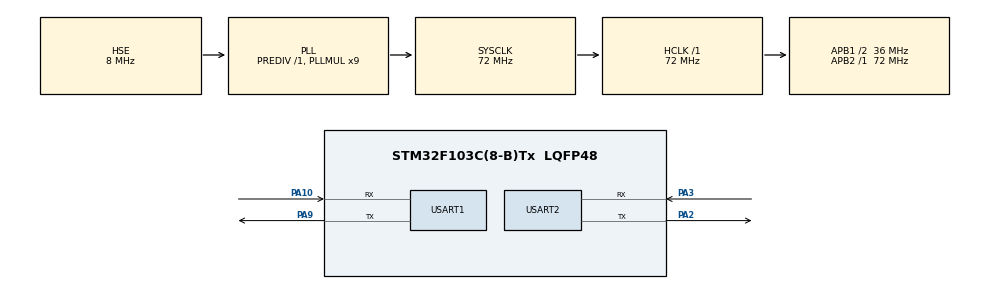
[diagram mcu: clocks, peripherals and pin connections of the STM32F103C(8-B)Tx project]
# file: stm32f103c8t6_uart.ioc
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Mcu.Family=STM32F1
Mcu.Name=STM32F103C(8-B)Tx
Mcu.Package=LQFP48
NVIC.PriorityGroup=NVIC_PRIORITYGROUP_4
PA10.Mode=Asynchronous
PA10.Signal=USART1_RX
PA13.Mode=Serial_Wire
PA13.Signal=SYS_JTMS-SWDIO
PA14.Mode=Serial_Wire
PA14.Signal=SYS_JTCK-SWCLK
PA2.Mode=Asynchronous
PA2.Signal=USART2_TX
PA3.Mode=Asynchronous
PA3.Signal=USART2_RX
PA9.Mode=Asynchronous
PA9.Signal=USART1_TX
PD0-OSC_IN.Mode=HSE-External-Oscillator
PD0-OSC_IN.Signal=RCC_OSC_IN
PD1-OSC_OUT.Mode=HSE-External-Oscillator
PD1-OSC_OUT.Signal=RCC_OSC_OUT
ProjectManager.HeapSize=0x200
ProjectManager.StackSize=0x400
ProjectManager.TargetToolchain=CMake
RCC.AHBFreq_Value=72000000
RCC.APB1CLKDivider=RCC_HCLK_DIV2
RCC.APB1Freq_Value=36000000
RCC.APB1TimFreq_Value=72000000
RCC.APB2Freq_Value=72000000
RCC.APB2TimFreq_Value=72000000
RCC.HCLKFreq_Value=72000000
RCC.PLLMUL=RCC_PLL_MUL9
RCC.PLLSourceVirtual=RCC_PLLSOURCE_HSE
RCC.SYSCLKFreq_VALUE=72000000
RCC.SYSCLKSource=RCC_SYSCLKSOURCE_PLLCLK
RCC.USBFreq_Value=72000000
USART1.VirtualMode=VM_ASYNC
USART2.VirtualMode=VM_ASYNC
board=custom

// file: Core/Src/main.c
/* USER CODE BEGIN Header */
/**
  ******************************************************************************
  * @file           : main.c
  * @brief          : Main program body
  ******************************************************************************
  * @attention
  *
  * Copyright (c) 2026 STMicroelectronics.
  * All rights reserved.
  *
  * This software is licensed under terms that can be found in the LICENSE file
  * in the root directory of this software component.
  * If no LICENSE file comes with this software, it is provided AS-IS.
  *
  ******************************************************************************
  */
/* USER CODE END Header */
#include "main.h"

/* USER CODE BEGIN Includes */
#include <stdio.h>
#include <string.h>
/* USER CODE END Includes */

UART_HandleTypeDef huart1;
UART_HandleTypeDef huart2;

/* USER CODE BEGIN PV */
#define TEST_BUF_SIZE 256
static uint8_t  tx_buf[TEST_BUF_SIZE];
static uint8_t  rx_buf[TEST_BUF_SIZE];
static uint32_t tests_passed = 0;
static uint32_t tests_failed = 0;
/* USER CODE END PV */

void SystemClock_Config(void);
static void MX_GPIO_Init(void);
static void MX_USART1_UART_Init(void);
static void MX_USART2_UART_Init(void);
/* USER CODE BEGIN PFP */
static void   uart_loopback_test(void);
static int    test_single_byte(void);
static int    test_variable_length(void);
static int    test_edge_patterns(void);
static void   led_init(void);
static void   led_pass(void);
static void   led_fail(void);
/* USER CODE END PFP */

/* USER CODE BEGIN 0 */

/* ---------------------------------------------------------- */
/* printf retarget to USART1                                  */
/* ---------------------------------------------------------- */
int __io_putchar(int ch)
{
  HAL_UART_Transmit(&huart1, (uint8_t *)&ch, 1, 2000);
  return ch;
}

/* ---------------------------------------------------------- */
/* LED helpers — PC13, active-low on Blue Pill                */
/* ---------------------------------------------------------- */
static void led_init(void)
{
  __HAL_RCC_GPIOC_CLK_ENABLE();
  GPIO_InitTypeDef g = {0};
  g.Pin   = GPIO_PIN_13;
  g.Mode  = GPIO_MODE_OUTPUT_PP;
  g.Pull  = GPIO_NOPULL;
  g.Speed = GPIO_SPEED_FREQ_LOW;
  HAL_GPIO_Init(GPIOC, &g);
  HAL_GPIO_WritePin(GPIOC, GPIO_PIN_13, GPIO_PIN_SET);  // LED off
}
static void led_pass(void)
{
  for (int i = 0; i < 6; i++) {
    HAL_GPIO_TogglePin(GPIOC, GPIO_PIN_13);
    HAL_Delay(80);
  }
  HAL_GPIO_WritePin(GPIOC, GPIO_PIN_13, GPIO_PIN_SET);
}

static void led_fail(void)
{
  for (int i = 0; i < 3; i++) {
    HAL_GPIO_TogglePin(GPIOC, GPIO_PIN_13);
    HAL_Delay(300);
  }
  HAL_GPIO_WritePin(GPIOC, GPIO_PIN_13, GPIO_PIN_SET);
}

/* ---------------------------------------------------------- */
/* UART loopback test cases                                   */
/* ---------------------------------------------------------- */
static int uart_check(const char *name, uint32_t len)
{
  memset(rx_buf, 0, len);
  HAL_UART_Transmit(&huart2, tx_buf, len, 2000);
  HAL_UART_Receive(&huart2, rx_buf, len, 2000);

  if (memcmp(tx_buf, rx_buf, len) != 0) {
    printf("  FAIL: %s\n", name);
    return 0;
  }
  printf("  PASS: %s\n", name);
  return 1;
}

static int test_single_byte(void)
{
  printf("  [Single-byte 0x00..0xFF]\n");
  int errors = 0;
  for (int v = 0; v < 256; v++) {
    tx_buf[0] = (uint8_t)v;
    memset(rx_buf, 0, 1);
    HAL_UART_Transmit(&huart2, tx_buf, 1, 2000);
    HAL_UART_Receive(&huart2, rx_buf, 1, 2000);
    if (rx_buf[0] != (uint8_t)v) {
      errors++;
      if (errors <= 5)
        printf("  FAIL: sent 0x%02X got 0x%02X\n", v, rx_buf[0]);
    }
  }
  if (errors == 0) {
    printf("  PASS: 256/256\n");
    return 1;
  }
  printf("  FAIL: %d/256 errors\n", errors);
  return 0;
}

static int test_variable_length(void)
{
  printf("  [Variable-length packets]\n");
  int all_ok = 1;
  uint32_t lens[] = {1, 4, 16, 64, 256};
  char name[32];
  for (int i = 0; i < 5; i++) {
    uint32_t n = lens[i];
    for (uint32_t j = 0; j < n; j++) tx_buf[j] = (uint8_t)(j & 0xFF);
    sprintf(name, "len=%lu", n);
    if (!uart_check(name, n)) all_ok = 0;
  }
  return all_ok;
}

static int test_edge_patterns(void)
{
  printf("  [Edge patterns]\n");
  int all_ok = 1;

  memset(tx_buf, 0x00, 64); if (!uart_check("all-0x00", 64)) all_ok = 0;
  memset(tx_buf, 0xFF, 64); if (!uart_check("all-0xFF", 64)) all_ok = 0;
  memset(tx_buf, 0x55, 64); if (!uart_check("0x55-alt", 64)) all_ok = 0;
  memset(tx_buf, 0xAA, 64); if (!uart_check("0xAA-alt", 64)) all_ok = 0;

  for (int i = 0; i < 64; i++) tx_buf[i] = (uint8_t)i;
  if (!uart_check("inc-0..63", 64)) all_ok = 0;

  for (int i = 0; i < 64; i++) tx_buf[i] = (uint8_t)(63 - i);
  if (!uart_check("dec-63..0", 64)) all_ok = 0;

  return all_ok;
}

static void uart_loopback_test(void)
{
  int ok;

  printf("\n--- USART2 Loopback @ 115200 ---\n");

  ok = test_single_byte();     ok ? tests_passed++ : tests_failed++;
  ok = test_variable_length(); ok ? tests_passed++ : tests_failed++;
  ok = test_edge_patterns();   ok ? tests_passed++ : tests_failed++;
}

/* USER CODE END 0 */

int main(void)
{

  /* MCU Configuration--------------------------------------------------------*/

  /* Reset of all peripherals, Initializes the Flash interface and the Systick. */
  HAL_Init();

  /* Configure the system clock */
  SystemClock_Config();

  /* Initialize all configured peripherals */
  MX_GPIO_Init();
  MX_USART1_UART_Init();
  MX_USART2_UART_Init();
  /* USER CODE BEGIN 2 */

  /* Init LED */
  __HAL_RCC_GPIOC_CLK_ENABLE();
  GPIO_InitTypeDef g = {0};
  g.Pin   = GPIO_PIN_13;
  g.Mode  = GPIO_MODE_OUTPUT_PP;
  g.Pull  = GPIO_NOPULL;
  g.Speed = GPIO_SPEED_FREQ_LOW;
  HAL_GPIO_Init(GPIOC, &g);
  HAL_GPIO_WritePin(GPIOC, GPIO_PIN_13, GPIO_PIN_SET);

  /* Signal ready: 3 fast blinks */
  for (int i = 0; i < 3; i++) {
    HAL_GPIO_TogglePin(GPIOC, GPIO_PIN_13);
    HAL_Delay(100);
  }
  HAL_GPIO_WritePin(GPIOC, GPIO_PIN_13, GPIO_PIN_SET);

  printf("\nSTM32 Echo Server ready\r\n");
  printf("USART2 (PA2/PA3) @ 115200\r\n\n");

  /* Buffered echo: collect packet, echo with delay */
  uint8_t buf[256];
  while (1) {
    uint32_t count = 0;
    uint32_t deadline = HAL_GetTick() + 5;

    while (count < 256) {
      if (HAL_UART_Receive(&huart2, &buf[count], 1, 2) == HAL_OK) {
        count++;
        deadline = HAL_GetTick() + 5;
        GPIOC->ODR ^= GPIO_ODR_ODR13;
      } else if ((int32_t)(HAL_GetTick() - deadline) > 0) {
        break;
      }
    }

    if (count > 0) {
      HAL_UART_Transmit(&huart2, buf, count, 5000);
    }
  }
  /* USER CODE END 2 */

  /* Infinite loop */
  while (1)
  {

  }
}

void SystemClock_Config(void)
{
  RCC_OscInitTypeDef RCC_OscInitStruct = {0};
  RCC_ClkInitTypeDef RCC_ClkInitStruct = {0};

  RCC_OscInitStruct.OscillatorType = RCC_OSCILLATORTYPE_HSE;
  RCC_OscInitStruct.HSEState = RCC_HSE_ON;
  RCC_OscInitStruct.HSEPredivValue = RCC_HSE_PREDIV_DIV1;
  RCC_OscInitStruct.HSIState = RCC_HSI_ON;
  RCC_OscInitStruct.PLL.PLLState = RCC_PLL_ON;
  RCC_OscInitStruct.PLL.PLLSource = RCC_PLLSOURCE_HSE;
  RCC_OscInitStruct.PLL.PLLMUL = RCC_PLL_MUL9;
  if (HAL_RCC_OscConfig(&RCC_OscInitStruct) != HAL_OK)
  {
    Error_Handler();
  }

  RCC_ClkInitStruct.ClockType = RCC_CLOCKTYPE_HCLK|RCC_CLOCKTYPE_SYSCLK
                              |RCC_CLOCKTYPE_PCLK1|RCC_CLOCKTYPE_PCLK2;
  RCC_ClkInitStruct.SYSCLKSource = RCC_SYSCLKSOURCE_PLLCLK;
  RCC_ClkInitStruct.AHBCLKDivider = RCC_SYSCLK_DIV1;
  RCC_ClkInitStruct.APB1CLKDivider = RCC_HCLK_DIV2;
  RCC_ClkInitStruct.APB2CLKDivider = RCC_HCLK_DIV1;

  if (HAL_RCC_ClockConfig(&RCC_ClkInitStruct, FLASH_LATENCY_2) != HAL_OK)
  {
    Error_Handler();
  }
}

static void MX_USART1_UART_Init(void)
{

  huart1.Instance = USART1;
  huart1.Init.BaudRate = 115200;
  huart1.Init.WordLength = UART_WORDLENGTH_8B;
  huart1.Init.StopBits = UART_STOPBITS_1;
  huart1.Init.Parity = UART_PARITY_NONE;
  huart1.Init.Mode = UART_MODE_TX_RX;
  huart1.Init.HwFlowCtl = UART_HWCONTROL_NONE;
  huart1.Init.OverSampling = UART_OVERSAMPLING_16;
  if (HAL_UART_Init(&huart1) != HAL_OK)
  {
    Error_Handler();
  }

}

static void MX_USART2_UART_Init(void)
{

  huart2.Instance = USART2;
  huart2.Init.BaudRate = 115200;
  huart2.Init.WordLength = UART_WORDLENGTH_8B;
  huart2.Init.StopBits = UART_STOPBITS_1;
  huart2.Init.Parity = UART_PARITY_NONE;
  huart2.Init.Mode = UART_MODE_TX_RX;
  huart2.Init.HwFlowCtl = UART_HWCONTROL_NONE;
  huart2.Init.OverSampling = UART_OVERSAMPLING_16;
  if (HAL_UART_Init(&huart2) != HAL_OK)
  {
    Error_Handler();
  }

}

static void MX_GPIO_Init(void)
{

  /* GPIO Ports Clock Enable */
  __HAL_RCC_GPIOD_CLK_ENABLE();
  __HAL_RCC_GPIOA_CLK_ENABLE();

}

void Error_Handler(void)
{
  __disable_irq();
  while (1)
  {
  }
}
